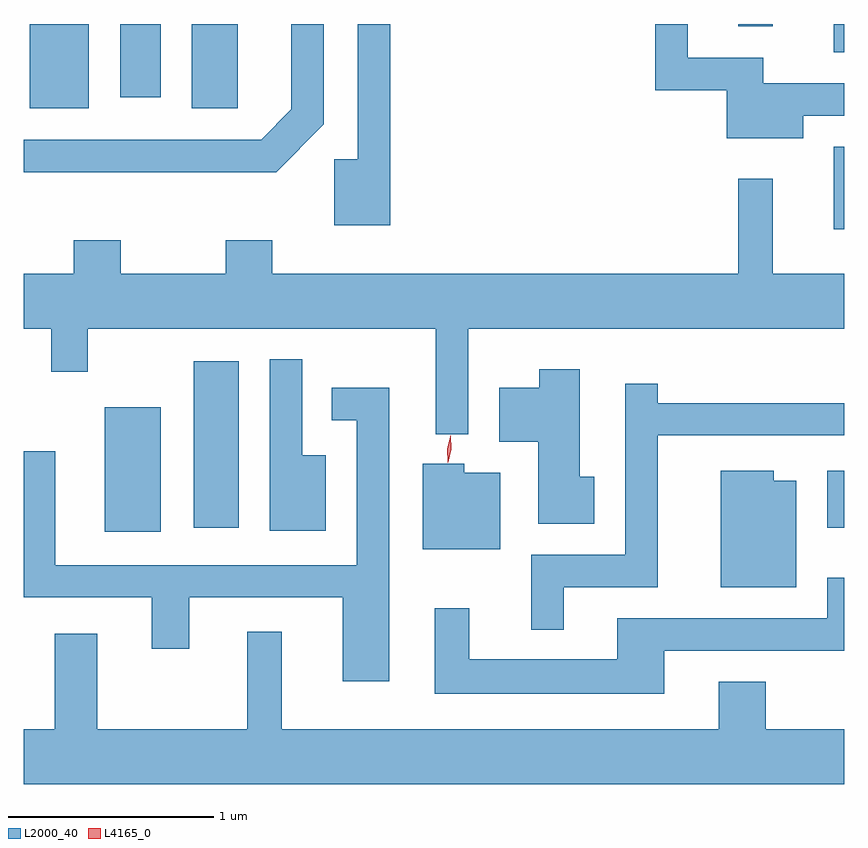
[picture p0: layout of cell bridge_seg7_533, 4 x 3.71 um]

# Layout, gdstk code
import gdstk
lib = gdstk.Library(unit=1e-6, precision=1e-09)
def R(c, l, rs):  # rectangles x0, y0, x1, y1
    for r in rs: c.add(gdstk.rectangle(r[:2], r[2:], *l))
def P(c, l, *ps):  # polygons
    for p in ps: c.add(gdstk.Polygon(p, *l))
L2000_40 = (2000, 40)
L4165_0 = (4165, 0)

bridge_seg7_533 = lib.new_cell('bridge_seg7_533')
R(bridge_seg7_533, L2000_40, [(855.691,1751.066,855.964,1751.674), (856.126,1751.086,856.344,1751.899), (859.216,1751.086,859.297,1751.364), (859.246,1752.543,859.297,1752.944), (855.326,1753.131,855.614,1753.543), (856.116,1753.131,856.339,1753.543), (855.766,1753.186,855.964,1753.543), (859.246,1753.406,859.297,1753.543), (858.781,1753.533,858.949,1753.543)])
P(bridge_seg7_533, L2000_40, [(856.759,1753.054),(856.759,1753.543),(856.601,1753.543),(856.601,1753.127),(856.454,1752.979),(855.297,1752.979),(855.297,1752.821),(856.527,1752.821)],
  [(857.084,1753.543),(856.926,1753.543),(856.926,1752.884),(856.811,1752.884),(856.811,1752.561),(857.084,1752.561)],
  [(859.099,1753.096),(859.297,1753.096),(859.297,1753.254),(858.904,1753.254),(858.904,1753.379),(858.534,1753.379),(858.534,1753.543),(858.376,1753.543),(858.376,1753.221),(858.726,1753.221),(858.726,1752.986),(859.099,1752.986)],
  [(857.464,1752.056),(859.297,1752.056),(859.297,1752.324),(858.949,1752.324),(858.949,1752.788),(858.781,1752.788),(858.781,1752.324),(856.509,1752.324),(856.509,1752.489),(856.281,1752.489),(856.281,1752.324),(855.769,1752.324),(855.769,1752.489),(855.541,1752.489),(855.541,1752.324),(855.297,1752.324),(855.297,1752.056),(855.431,1752.056),(855.431,1751.846),(855.609,1751.846),(855.609,1752.056),(857.306,1752.056),(857.306,1751.543),(857.464,1751.543)],
  [(856.769,1751.439),(856.654,1751.439),(856.654,1751.908),(856.496,1751.908),(856.496,1751.071),(856.769,1751.071)],
  [(858.079,1751.334),(858.009,1751.334),(858.009,1751.859),(857.811,1751.859),(857.811,1751.769),(857.616,1751.769),(857.616,1751.506),(857.806,1751.506),(857.806,1751.106),(858.079,1751.106)],
  [(857.929,1750.796),(858.389,1750.796),(858.389,1751.536),(859.297,1751.536),(859.297,1751.694),(858.389,1751.694),(858.389,1751.788),(858.231,1751.788),(858.231,1750.954),(857.771,1750.954),(857.771,1750.588),(857.929,1750.588)],
  [(857.079,1751.769),(856.798,1751.769),(856.798,1751.611),(856.921,1751.611),(856.921,1750.904),(855.449,1750.904),(855.449,1751.459),(855.297,1751.459),(855.297,1750.746),(855.921,1750.746),(855.921,1750.496),(856.104,1750.496),(856.104,1750.746),(856.851,1750.746),(856.851,1750.336),(857.079,1750.336)],
  [(857.619,1751.354),(857.444,1751.354),(857.444,1751.399),(857.241,1751.399),(857.241,1750.981),(857.619,1750.981)],
  [(859.064,1751.314),(858.954,1751.314),(858.954,1751.364),(858.696,1751.364),(858.696,1750.796),(859.064,1750.796)],
  [(858.419,1750.486),(859.297,1750.486),(859.297,1750.843),(859.216,1750.843),(859.216,1750.644),(858.191,1750.644),(858.191,1750.444),(857.469,1750.444),(857.469,1750.693),(857.301,1750.693),(857.301,1750.276),(858.419,1750.276)],
  [(859.297,1750.104),(858.914,1750.104),(858.914,1750.334),(858.686,1750.334),(858.686,1750.104),(856.554,1750.104),(856.554,1750.578),(856.386,1750.578),(856.386,1750.104),(855.654,1750.104),(855.654,1750.569),(855.446,1750.569),(855.446,1750.104),(855.297,1750.104),(855.297,1749.836),(859.297,1749.836)])
P(bridge_seg7_533, L4165_0, [(857.365,1751.404),(857.365,1751.405),(857.362,1751.472),(857.378,1751.537),(857.378,1751.538),(857.378,1751.537),(857.382,1751.47),(857.366,1751.405)])

lib.write_gds('bridge_seg7_533.gds')
